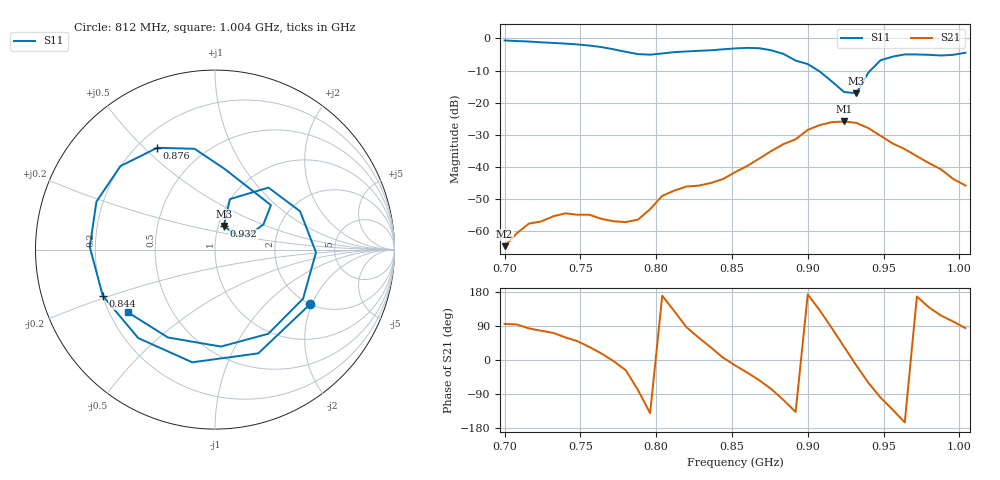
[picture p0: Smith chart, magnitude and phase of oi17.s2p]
# Hz S RI R 50
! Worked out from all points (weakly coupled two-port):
!   39 points, 700 MHz to 1.004 GHz, reference 50 ohm
!   highest |S21| = -25.85 dB at 924 MHz (marker M1); lowest = -64.7 dB at 700 MHz (marker M2)
!   lowest |S11| = -17.1 dB at 932 MHz (marker M3), VSWR 1.33, Z = 53.1 + j14.3 ohm
!   |S11| at or under -10 dB: 906.9 MHz to 941.3 MHz (34.48 MHz wide, 3.73 % of centre)
!   S12 and S22 are empty: the file has one direction only
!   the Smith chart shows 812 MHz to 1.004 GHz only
!   S11 on the Smith chart (normalised r, x): 812 MHz: 2.00, -1.94; 844 MHz: 0.20, -0.19; 876 MHz: 0.28, +0.55; 932 MHz: 1.06, +0.29; 1.004 GHz: 0.28, -0.30
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7e8  0.7644 0.5272  -5.15e-05 0.000582  0 0  0 0
7.24e8  0.8283 -0.2602  0.000311 0.00138  0 0  0 0
7.4e8  0.4452 -0.6994  0.000952 0.00164  0 0  0 0
7.56e8  -0.196 -0.7474  0.00149 0.00101  0 0  0 0
7.72e8  -0.6488 -0.1881  0.00142 -8.37e-05  0 0  0 0
7.8e8  -0.5726 0.2302  0.00123 -0.000632  0 0  0 0
7.88e8  -0.2197 0.5247  0.00028 -0.00149  0 0  0 0
7.96e8  0.2579 0.4951  -0.00169 -0.0014  0 0  0 0
8.04e8  0.566 0.139  -0.00349 0.000639  0 0  0 0
8.12e8  0.5301 -0.304  -0.00268 0.00334  0 0  0 0
8.28e8  -0.1268 -0.6279  0.00263 0.00439  0 0  0 0
8.44e8  -0.6253 -0.2569  0.00642 0.000727  0 0  0 0
8.52e8  -0.6978 0.0148  0.00802 -0.00201  0 0  0 0
8.76e8  -0.3217 0.5674  0.00403 -0.0172  0 0  0 0
9e8  0.3117 0.2476  -0.0374 0.00451  0 0  0 0
9.08e8  0.2699 0.1405  -0.0291 0.0341  0 0  0 0
9.24e8  0.1248 0.0764  0.042 0.0289  0 0  0 0
9.32e8  0.0487 0.1316  0.0469 -0.0118  0 0  0 0
9.48e8  0.298 0.3455  -0.00479 -0.0301  0 0  0 0
9.56e8  0.4739 0.2136  -0.0152 -0.0175  0 0  0 0
9.8e8  0.2968 -0.4691  -0.00861 0.00756  0 0  0 0
1.004e9  -0.4847 -0.3496  0.000518 0.00511  0 0  0 0
